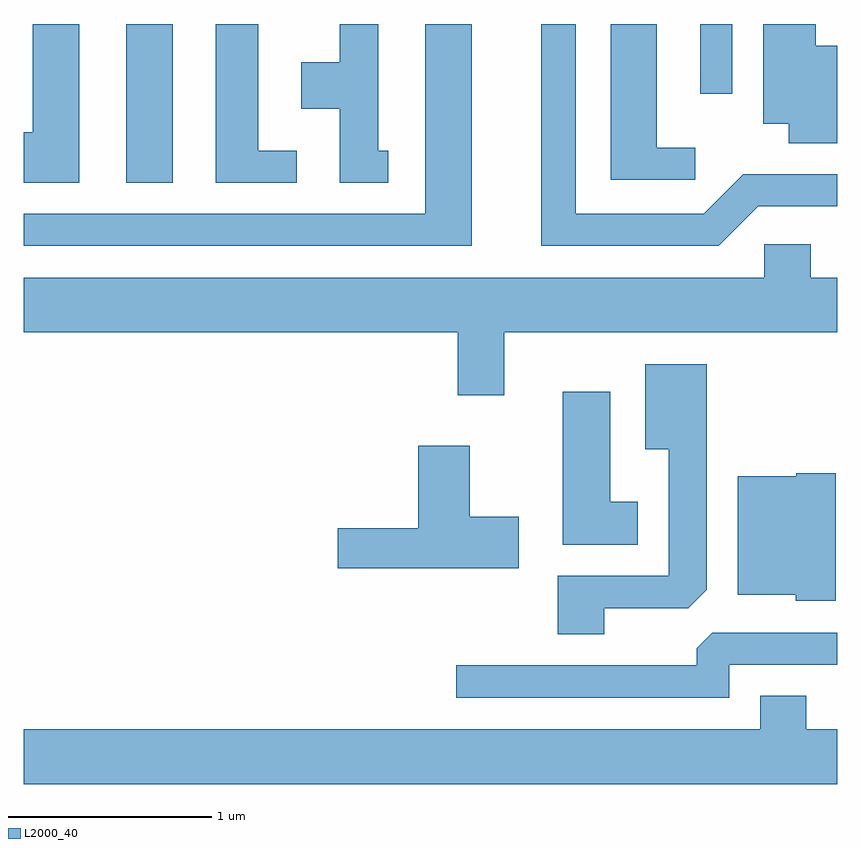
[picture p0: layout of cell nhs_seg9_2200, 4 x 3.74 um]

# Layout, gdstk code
import gdstk
lib = gdstk.Library(unit=1e-6, precision=1e-09)
def R(c, l, rs):  # rectangles x0, y0, x1, y1
    for r in rs: c.add(gdstk.rectangle(r[:2], r[2:], *l))
def P(c, l, *ps):  # polygons
    for p in ps: c.add(gdstk.Polygon(p, *l))
L2000_40 = (2000, 40)

nhs_seg9_2200 = lib.new_cell('nhs_seg9_2200')
R(nhs_seg9_2200, L2000_40, [(250.116,2003.651,250.344,2004.432), (252.936,2004.088,253.094,2004.432)])
P(nhs_seg9_2200, L2000_40, [(250.953,2003.809),(250.764,2003.809),(250.764,2004.432),(250.556,2004.432),(250.556,2003.651),(250.953,2003.651)],
  [(253.611,2004.324),(253.504,2004.324),(253.504,2004.432),(253.246,2004.432),(253.246,2003.941),(253.371,2003.941),(253.371,2003.846),(253.611,2003.846)],
  [(253.222,2003.536),(253.611,2003.536),(253.611,2003.694),(253.149,2003.694),(252.954,2003.499),(252.324,2003.499),(252.324,2004.432),(252.156,2004.432),(252.156,2003.341),(253.027,2003.341)],
  [(249.884,2004.432),(249.656,2004.432),(249.656,2003.899),(249.611,2003.899),(249.611,2003.651),(249.884,2003.651)],
  [(252.913,2003.824),(252.724,2003.824),(252.724,2004.432),(252.496,2004.432),(252.496,2003.666),(252.913,2003.666)],
  [(251.814,2004.432),(251.586,2004.432),(251.586,2003.499),(249.611,2003.499),(249.611,2003.341),(251.814,2003.341)],
  [(251.403,2003.809),(251.354,2003.809),(251.354,2004.432),(251.166,2004.432),(251.166,2004.244),(250.976,2004.244),(250.976,2004.016),(251.166,2004.016),(251.166,2003.651),(251.403,2003.651)],
  [(251.974,2002.916),(253.611,2002.916),(253.611,2003.184),(253.479,2003.184),(253.479,2003.349),(253.251,2003.349),(253.251,2003.184),(249.611,2003.184),(249.611,2002.916),(251.746,2002.916),(251.746,2002.606),(251.974,2002.606)],
  [(252.464,2001.561),(252.879,2001.561),(252.969,2001.652),(252.969,2002.759),(252.666,2002.759),(252.666,2002.341),(252.781,2002.341),(252.781,2001.719),(252.236,2001.719),(252.236,2001.431),(252.464,2001.431)],
  [(252.629,2002.084),(252.494,2002.084),(252.494,2002.624),(252.261,2002.624),(252.261,2001.871),(252.629,2001.871)],
  [(252.044,2002.009),(251.804,2002.009),(251.804,2002.359),(251.551,2002.359),(251.551,2001.954),(251.156,2001.954),(251.156,2001.756),(252.044,2001.756)],
  [(253.604,2002.224),(253.41,2002.224),(253.41,2002.209),(253.121,2002.209),(253.121,2001.626),(253.406,2001.626),(253.406,2001.596),(253.604,2001.596)],
  [(253.079,2001.281),(253.611,2001.281),(253.611,2001.439),(252.997,2001.439),(252.921,2001.364),(252.921,2001.279),(251.738,2001.279),(251.738,2001.121),(253.079,2001.121)],
  [(253.611,2000.964),(253.459,2000.964),(253.459,2001.129),(253.231,2001.129),(253.231,2000.964),(249.611,2000.964),(249.611,2000.696),(253.611,2000.696)])

lib.write_gds('nhs_seg9_2200.gds')
